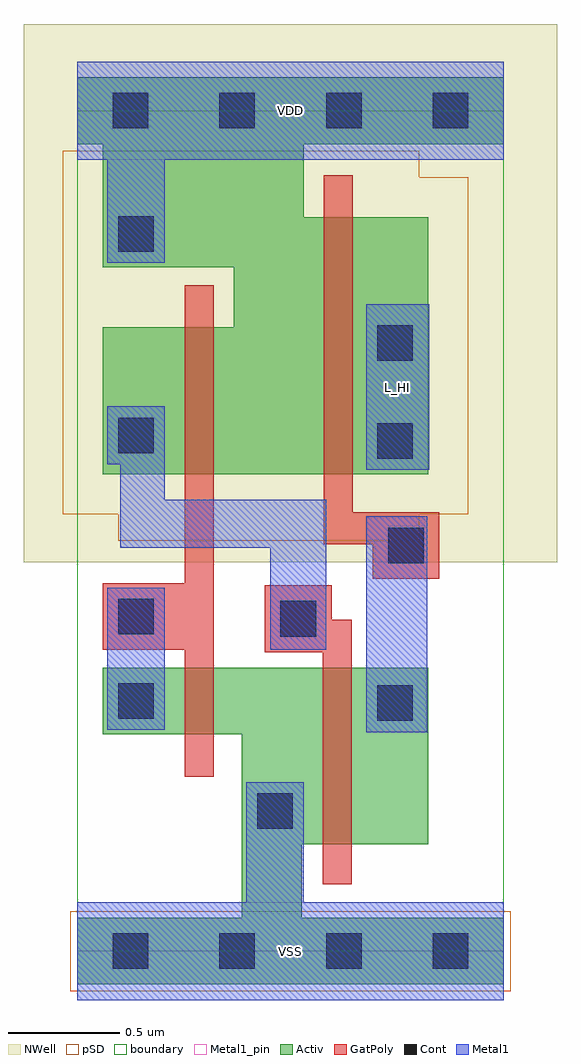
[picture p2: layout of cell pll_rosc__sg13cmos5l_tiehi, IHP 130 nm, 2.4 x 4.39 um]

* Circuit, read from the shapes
.subckt pll_rosc__sg13cmos5l_tiehi L_HI VDD VSS
XM1 VSS n1 n1 VSS sg13_lv_nmos w=0.3u l=0.13u
XM2 n2 n3 VSS VSS sg13_lv_nmos w=0.795u l=0.13u
XM3 VDD n1 n3 VDD sg13_lv_pmos w=0.66u l=0.13u
XM4 L_HI n2 VDD VDD sg13_lv_pmos w=1.155u l=0.13u
.ends

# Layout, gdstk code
import gdstk
lib = gdstk.Library(unit=1e-6, precision=1e-09)
def R(c, l, rs):  # rectangles x0, y0, x1, y1
    for r in rs: c.add(gdstk.rectangle(r[:2], r[2:], *l))
def A(c, l, x, y, w, h, nx, ny, dx, dy):  # array of equal rectangles
    R(c, l, [(x+i*dx, y+j*dy, x+i*dx+w, y+j*dy+h) for i in range(nx) for j in range(ny)])
Activ = (1, 0)
GatPoly = (5, 0)
Cont = (6, 0)
Metal1 = (8, 0)
Metal1_pin = (8, 2)
pSD = (14, 0)
NWell = (31, 0)
boundary = (189, 4)

pll_rosc__sg13cmos5l_tie = lib.new_cell('pll_rosc__sg13cmos5l_tiehi')
R(pll_rosc__sg13cmos5l_tie, Activ, [(0,-0.15,1.92,0.15), (0.74,0.15,1.01,0.48), (0.74,0.48,1.58,0.975), (0.115,0.975,1.58,1.275), (0.115,2.145,1.58,2.805), (0.705,2.805,1.58,3.075), (0.115,3.075,1.58,3.3), (0.115,3.3,1.02,3.63), (0,3.63,1.92,3.93)])
R(pll_rosc__sg13cmos5l_tie, GatPoly, [(1.105,0.3,1.235,1.345), (0.485,0.785,0.615,1.355), (0.845,1.345,1.235,1.49), (0.115,1.355,0.615,1.655), (0.845,1.49,1.145,1.645), (0.485,1.655,0.615,2.995), (1.33,1.675,1.63,1.83), (1.11,1.83,1.63,1.975), (1.11,1.975,1.24,3.49)])
A(pll_rosc__sg13cmos5l_tie, Cont, 0.16, -0.08, 0.16, 0.16, 4, 2, 0.48, 3.78)
R(pll_rosc__sg13cmos5l_tie, Cont, [(0.81,0.55,0.97,0.71), (1.35,1.035,1.51,1.195), (0.185,1.045,0.345,1.205), (0.915,1.415,1.075,1.575), (0.185,1.425,0.345,1.585), (1.4,1.745,1.56,1.905), (1.35,2.215,1.51,2.375), (0.185,2.24,0.345,2.4), (1.35,2.655,1.51,2.815), (0.185,3.145,0.345,3.305)])
R(pll_rosc__sg13cmos5l_tie, Metal1, [(0,-0.22,1.92,0.22), (0.76,0.22,1.02,0.76), (1.3,0.985,1.575,1.955), (0.135,0.995,0.395,1.635), (0.87,1.355,1.12,1.815), (0.195,1.815,1.12,2.03), (0.195,2.03,0.395,2.19), (1.3,2.165,1.585,2.91), (0.135,2.19,0.395,2.45), (0.135,3.095,0.395,3.56), (0,3.56,1.92,4)])
R(pll_rosc__sg13cmos5l_tie, Metal1_pin, [(0,-0.22,1.92,0.22), (1.3,2.165,1.585,2.91), (0,3.56,1.92,4)])
R(pll_rosc__sg13cmos5l_tie, pSD, [(-0.03,-0.18,1.95,0.18), (0.185,1.845,1.54,1.965), (-0.065,1.965,1.76,3.48), (-0.065,3.48,1.54,3.6)])
R(pll_rosc__sg13cmos5l_tie, NWell, [(-0.24,1.75,2.16,4.17)])
R(pll_rosc__sg13cmos5l_tie, boundary, [(0,0,1.92,3.78)])
pll_rosc__sg13cmos5l_tie.add(gdstk.Label('L_HI', (1.442,2.537), layer=8, texttype=25))
pll_rosc__sg13cmos5l_tie.add(gdstk.Label('VDD', (0.96,3.78), layer=8, texttype=25))
pll_rosc__sg13cmos5l_tie.add(gdstk.Label('VSS', (0.96,0), layer=8, texttype=25))

lib.write_gds('pll_rosc__sg13cmos5l_tiehi.gds')
